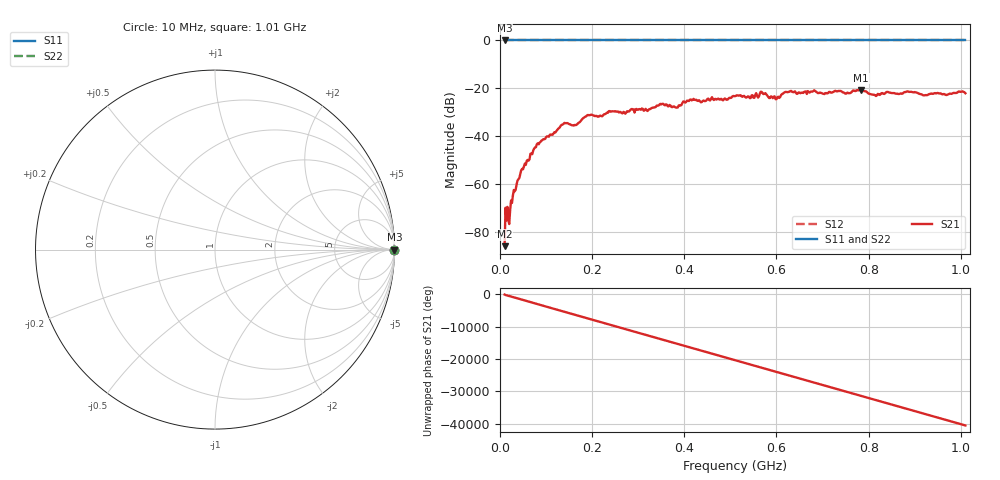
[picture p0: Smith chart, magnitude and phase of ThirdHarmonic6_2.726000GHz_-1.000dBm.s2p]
! 8/17/2025 6:40:41 AM
! C:\ANRITSUVNA\TEMP\TEMP.S2P
! CHANNEL.1
! TR.MEASUREMENT
! RAW.DATA
! RF.CORRECTION.OFF
! AVERAGING.OFF
! IF.BANDWIDTH: 5KHZ
! SWEEPTYPE:  FREQ.SWEEP(Linear)
! Reference Plane Port Info
! PORT:  PORT1  PORT2
! DISTANCE:  0  m  0  m
! TIME:  0  s  0  s
! PHASE.OFFSET:  0  deg.  0  deg.
! LOSS:  0  dB  0  dB
! REF.LOSS:  0  dB  0  dB
! REF.FREQ:  0  Hz  0  Hz
! Power Info
! POWER:  -20  dBm  -20  dBm
! EFF.POWER:  -20  dBm  -20  dBm
! SOURCE.ATTEN:  0  dB  0  dB
! TEST.ATTEN:  0  dB  0  dB
# GHZ S RI R 50.0
! FREQ.GHZ  S11RE  S11IM  S21RE  S21IM  S12RE  S12IM  S22RE  S22IM
!; PortSelection: Port_12
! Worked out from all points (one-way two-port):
!   501 points, 10 MHz to 1.01 GHz, reference 50 ohm
!   highest |S21| = -20.63 dB at 784 MHz (marker M1); lowest = -85.9 dB at 10 MHz (marker M2)
!   lowest |S11| = 0.0 dB at 10 MHz (marker M3)
!   |S11| at or under -10 dB: nowhere
!   |S22| runs from 0.0 to 0.0 dB; largest |S21 - S12| = 1.1
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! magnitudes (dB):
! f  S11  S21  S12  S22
! 10 MHz  0.0  -85.9  0.0  0.0
! 22 MHz  0.0  -70.9  0.0  0.0
! 28 MHz  0.0  -64.8  0.0  0.0
! 44 MHz  0.0  -55.8  0.0  0.0
! 78 MHz  0.0  -44.6  0.0  0.0
! 136 MHz  0.0  -35.1  0.0  0.0
! 162 MHz  0.0  -35.3  0.0  0.0
! 178 MHz  0.0  -32.9  0.0  0.0
! 194 MHz  0.0  -31.3  0.0  0.0
! 322 MHz  0.0  -29.0  0.0  0.0
! 344 MHz  0.0  -27.2  0.0  0.0
! 382 MHz  0.0  -28.0  0.0  0.0
! 416 MHz  0.0  -25.0  0.0  0.0
! 510 MHz  0.0  -23.3  0.0  0.0
! 570 MHz  0.0  -22.1  0.0  0.0
! 602 MHz  0.0  -23.7  0.0  0.0
! 620 MHz  0.0  -21.5  0.0  0.0
! 678 MHz  0.0  -21.4  0.0  0.0
! 784 MHz  0.0  -20.6  0.0  0.0
! 814 MHz  0.0  -22.9  0.0  0.0
! 844 MHz  0.0  -21.7  0.0  0.0
! 1.01 GHz  0.0  -22.0  0.0  0.0
